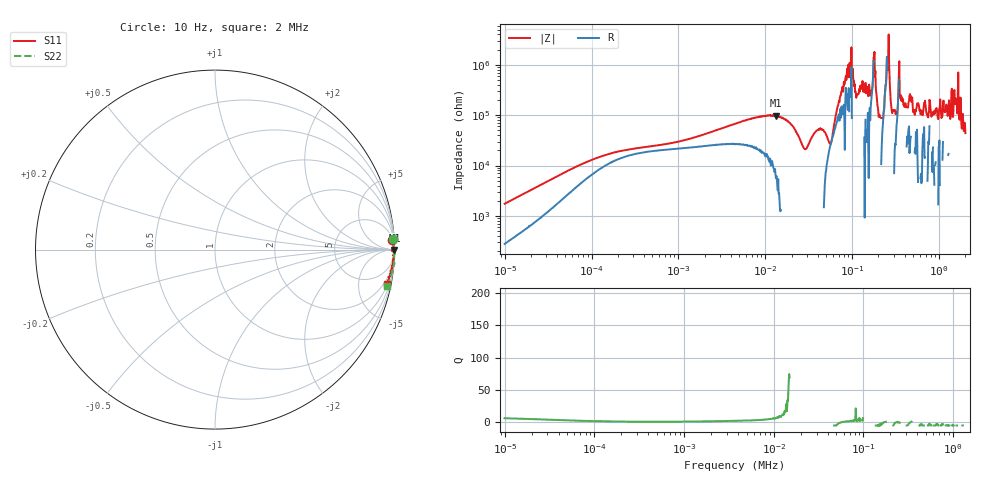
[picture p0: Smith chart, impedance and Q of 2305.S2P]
!Agilent Technologies,E5061B,MY49204007,A.02.12
!Date: Wed Jul 23 11:44:59 2025
!Data & Calibration Information:
!Freq	S11:SOLT2(ON)	S21:SOLT2(ON)	S12:SOLT2(ON)	S22:SOLT2(ON)
# Hz S dB R 50
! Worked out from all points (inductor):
!   1040 points, 10 Hz to 2 MHz, reference 50 ohm
!   read as one part in series: L = 26.6 H near 10.69 Hz
!   highest Q = 17.3 at 13.25 kHz (marker M1), where L = 1.17 H
!   self-resonance near 28.67 kHz
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10  -0.10 3.2  -24.91 -77.5  -24.91 -77.4  -0.08 3.4
77.209  -0.04 0.5  -40.60 -63.9  -40.62 -63.8  -0.02 0.7
588.818  -0.03 0.1  -48.10 -37.8  -48.10 -37.7  -0.01 0.3
4498.482  -0.01 0.0  -56.61 -66.9  -56.60 -66.5  0.01 0.2
13245.48  -0.00 -0.2  -59.75 -86.7  -59.72 -86.0  0.01 0.1
28364.82  -0.13 -0.3  -46.60 -172.8  -46.63 -172.8  -0.00 0.0
34305.13  -0.04 0.2  -51.35 120.6  -51.26 120.8  0.01 -0.0
42919.99  -0.02 -0.1  -54.88 96.0  -54.87 98.3  0.01 -0.1
56483.17  -0.03 -0.2  -48.65 12.0  -48.67 11.6  -0.03 -0.2
92131.26  -0.01 -0.4  -75.01 -78.1  -78.42 -77.7  0.01 -0.4
114012.9  -0.01 -0.5  -68.06 137.9  -67.53 146.6  -0.02 -0.4
158692.4  -0.01 -0.8  -68.55 57.8  -67.43 71.8  0.00 -0.8
179913  -0.01 -1.0  -85.14 -116.2  -79.49 -36.5  -0.00 -0.8
215031.1  -0.01 -1.1  -58.91 82.0  -57.89 84.4  0.00 -1.1
250217.7  -0.01 -1.3  -83.15 0.0  -97.97 57.5  -0.00 -1.2
261946.5  -0.01 -1.4  -92.06 -123.7  -80.88 167.9  -0.00 -1.3
294710.7  -0.01 -1.6  -61.69 97.8  -60.90 99.4  -0.00 -1.4
359497.9  -0.05 -1.7  -66.59 101.0  -67.18 102.1  -0.01 -1.8
404716.8  -0.02 -2.1  -64.69 95.3  -63.93 92.9  -0.00 -2.0
624164.4  -0.06 -3.5  -61.93 84.6  -62.97 92.3  -0.02 -3.3
1574823  -0.12 -8.5  -65.54 157.8  -66.46 168.1  -0.11 -9.2
2000000  -0.21 -11.2  -53.15 -134.2  -52.98 -130.8  -0.19 -11.8
